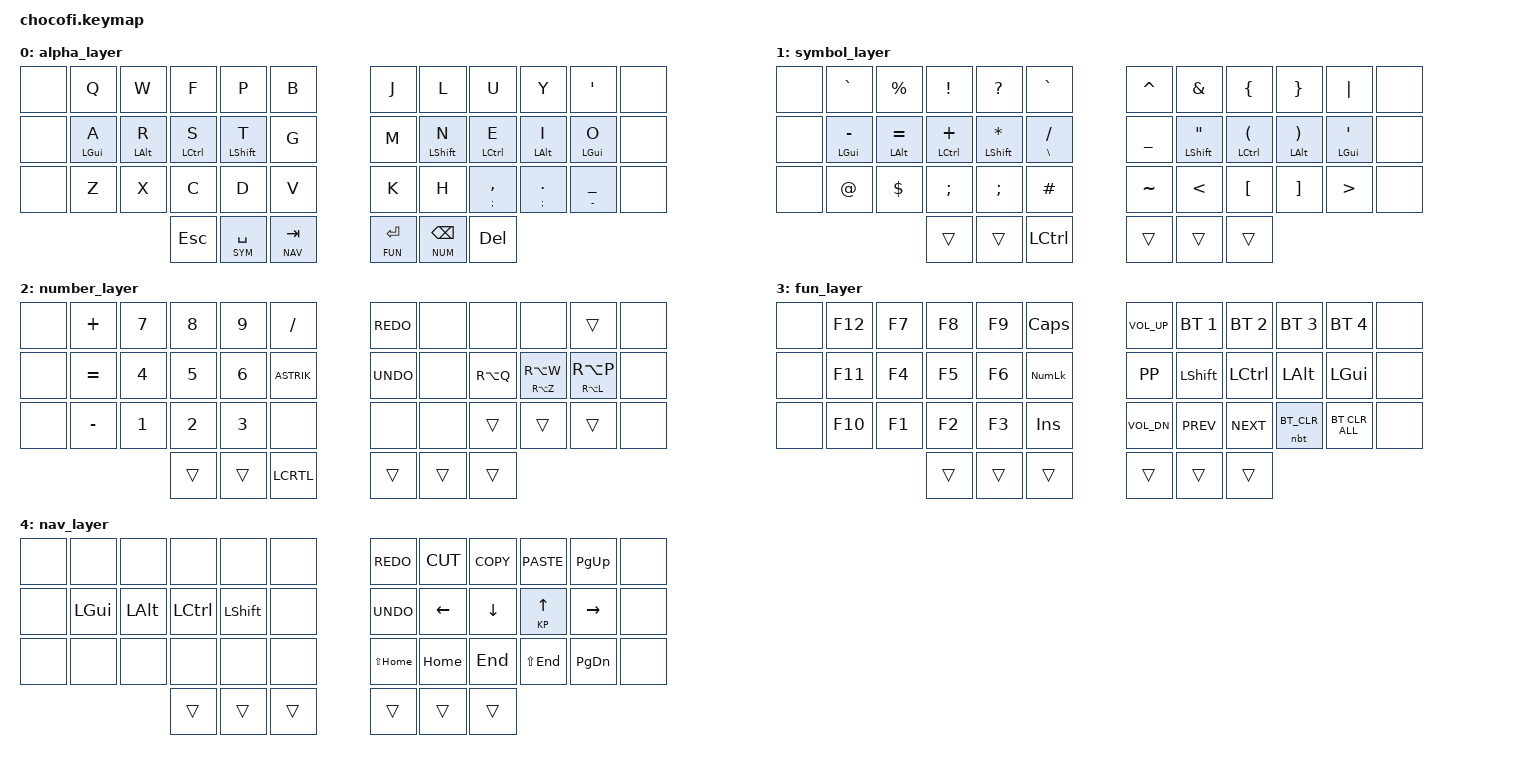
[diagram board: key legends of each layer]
/*
 * Copyright (c) 2020 The ZMK Contributors
 *
 * SPDX-License-Identifier: MIT
 */

#include <behaviors.dtsi>
#include <dt-bindings/zmk/keys.h>
#include <dt-bindings/zmk/bt.h>

//LAYERS
#define ALPHA  0
#define SYM    1
#define NUM    2
#define FUN    3
#define NAV    4

//Fixes homerow for fast typing
rpi: require_prior_idle {
    compatible = "zmk,behavior-hold-tap";
    #binding-cells = <2>;
    flavor = "tap-preferred";
    tapping-term-ms = <200>;
    quick-tap-ms = <200>;
    require-prior-idle-ms = <125>;
    bindings = <&kp>, <&kp>;
};

/ {
        
        keymap {
                compatible = "zmk,keymap";

                alpha_layer {
// -----------------------------------------------------------------------------------------------------------
// ||    Q    |    W    |    F    |    P    |    B    |   |    J    |    L    |    U    |    Y    |    '    ||
// ||    A    |    R    |    S    |    T    |    G    |   |    M    |    N    |    E    |    I    |    O    ||
// ||    Z    |    X    |    C    |    D    |    V    |   |    K    |    H    |    ,;   |    .:   |    _-   ||
//                     ||   ESC   |  SPACE  |   TAB   |   |  ENTER  |   BSPC  |   DEL   ||

                        bindings = <
       &none &kp Q        &kp W        &kp F         &kp P          &kp B                 &kp J           &kp L          &kp U                &kp Y          &kp SQT &none
       &none &mt LGUI A   &mt LALT R   &mt LCTRL S   &mt LSHIFT T   &kp G                 &kp M           &mt LSHIFT N   &mt LCTRL E          &mt LALT I     &mt LGUI O &none
       &none &kp Z        &kp X        &kp C         &kp D          &kp V                 &kp K           &kp H          &mt SEMICOLON COMMA  &mt SEMI DOT   &mt MINUS UNDERSCORE &none
                                       &kp ESC       &lt SYM SPACE  &lt NAV TAB           &lt FUN RET     &lt NUM BSPC   &kp DEL
                        >;
                };

                symbol_layer {
// -----------------------------------------------------------------------------------------------------------
// ||    `    |    %    |    !    |    ?    |    ´    |   |    ^    |    &    |    {    |    }    |    |    ||
// ||    -    |    =    |    +    |    *    |    /\   |   |    _    |    "    |    (    |    )    |    '    ||
// ||    @    |    $    |    :    |    ;    |    #    |   |    ~    |    <    |    [    |    ]    |    >    ||
//                     ||   ESC   |  SPACE  |   CTRL  |   |  ENTER  |   BSPC  |   DEL   ||

                        bindings = <
       &none &kp GRAVE        &kp PRCNT        &kp EXCL         &kp QMARK          &kp GRAVE            &kp CARET   &kp AMPS         &kp LBRC         &kp RBRC        &kp PIPE &none
       &none &mt LGUI MINUS   &mt LALT EQUAL   &mt LCTRL PLUS   &mt LSHIFT ASTRK   &mt BSLH FSLH        &kp UNDER   &mt LSHIFT DQT   &mt LCTRL LPAR   &mt LALT RPAR   &mt LGUI SQT &none
       &none &kp AT           &kp DLLR         &kp SEMI         &kp SEMICOLON      &kp HASH             &kp TILDE   &kp LT           &kp LBKT         &kp RBKT        &kp GT &none
                                               &trans           &trans             &kp LCTRL            &trans      &trans           &trans
                        >;
                };

                number_layer {
// -----------------------------------------------------------------------------------------------------------
// ||    +    |    7    |    8    |    9    |    /    |   |  REDO   |  none   |  none   |  none   |  trans  ||
// ||    =    |    4    |    5    |    6    |    *    |   |  UNDO   |  none   |    Å    |    ÄÆ   |    ÖØ   ||
// ||    -    |    1    |    2    |    3    |   none  |   |  none   |  none   |  trans  |  trans  |  trans  ||
//                     ||   ESC   |  SPACE  |   CTRL  |   |  ENTER  |  BSPC   |   DEL   ||

                        bindings = <
       &none &kp PLUS    &kp N7   &kp N8   &kp N9   &kp FSLH          &kp K_REDO    &none   &none      &none            &trans &none
       &none &kp EQUAL   &kp N4   &kp N5   &kp N6   &kp ASTRIK        &kp K_UNDO    &none   &kp RA(Q)  &mt RA(Z) RA(W)  &mt RA(L) RA(P) &none
       &none &kp MINUS   &kp N1   &kp N2   &kp N3   &none             &none         &none   &trans     &trans           &trans &none
                                  &trans   &trans   &kp LCRTL         &trans        &trans  &trans
                        >;
                };

                fun_layer {
// -----------------------------------------------------------------------------------------------------------
// ||   F12   |    F7   |    F8   |    F9   |  CAPLCK |   |  VOL+   |  BT_1   |  BT_2   |  BT_3   |  BT_4   ||
// ||   F11   |    F4   |    F5   |    F6   |  NUMLCK |   |  PLAY   |  SHIFT  |   CTRL  |   ALT   |  SUPER  ||
// ||   F10   |    F1   |    F2   |    F3   |  INS    |   |  VOL-   |  PREV   |   NEXT  |  BTCLR  | BTCLRAL ||
//                     ||   ESC   |  SPACE  |   TAB   |   |  ENTER  |   BSPC  |   DEL   ||

                        bindings = <
       &none &kp F12   &kp F7   &kp F8   &kp F9   &kp CAPS          &kp K_VOL_UP   &bt BT_SEL 1   &bt BT_SEL 2   &bt BT_SEL 3   &bt BT_SEL 4 &none
       &none &kp F11   &kp F4   &kp F5   &kp F6   &kp KP_NUM        &kp K_PP       &kp LSHIFT     &kp LCTRL      &kp LALT       &kp LGUI &none
       &none &kp F10   &kp F1   &kp F2   &kp F3   &kp INS           &kp K_VOL_DN   &kp K_PREV     &kp K_NEXT     &nbt BT_CLR    &bt BT_CLR_ALL &none
                                &trans   &trans   &trans            &trans         &trans         &trans
                        >;
                };

                nav_layer {
// -----------------------------------------------------------------------------------------------------------
// ||    X    |    X    |    X    |    X    |    X    |   |  REDO   |   CUT   |   COPY  |  PASTE  |  PAUP   ||
// ||  SUPER  |   ALT   |   CTRL  |  SHIFT  |    X    |   |  UNDO   |   LEFT  |   DOWN  |    UP   |  RIGHT  ||
// ||    X    |    X    |    X    |    X    |    X    |   |  LSHOME |   HOME  |   END   |  LSEND  |  PADN   ||
//                     ||   ESC   |  SPACE  |   TAB   |   |  ENTER  |   BSPC  |   DEL   ||

                        bindings = <
       &none &none      &none      &none       &none       &none        &kp K_REDO     &kp K_CUT   &kp K_COPY   &kp K_PASTE   &kp PG_UP &none
       &none &kp LGUI   &kp LALT   &kp LCTRL   &kp LSHFT   &none        &kp K_UNDO     &kp LEFT    &kp DOWN     &KP UP        &kp RIGHT &none
       &none &none      &none      &none       &none       &none        &kp LS(HOME)   &kp HOME    &kp END      &kp LS(END)   &kp PG_DN &none
                                   &trans      &trans      &trans       &trans         &trans      &trans
                        >;
                };
        };
};
